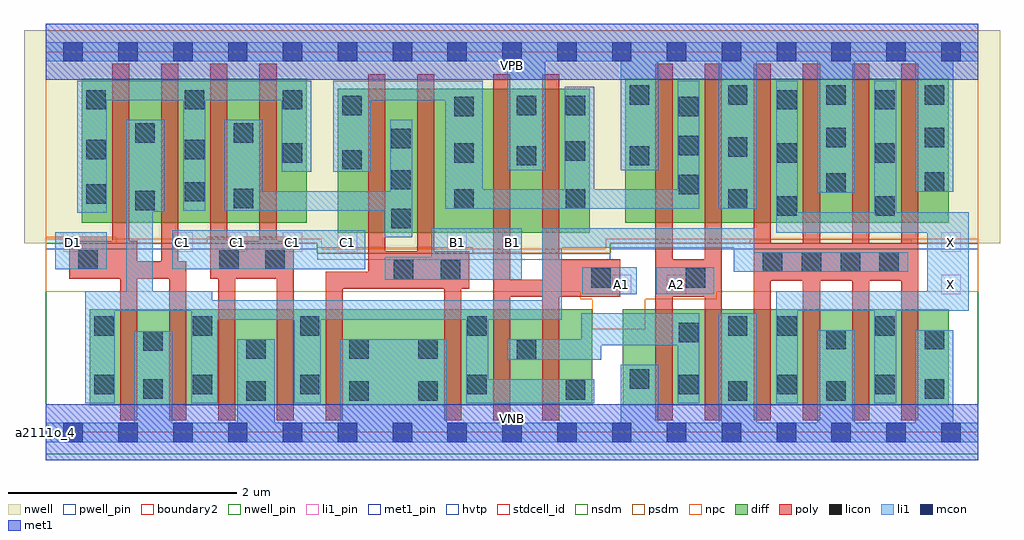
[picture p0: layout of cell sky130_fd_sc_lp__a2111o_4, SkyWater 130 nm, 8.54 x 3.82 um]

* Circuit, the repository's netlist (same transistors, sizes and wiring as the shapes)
* Copyright 2020 The SkyWater PDK Authors
*
* Licensed under the Apache License, Version 2.0 (the "License");
* you may not use this file except in compliance with the License.
* You may obtain a copy of the License at
*
*     https://www.apache.org/licenses/LICENSE-2.0
*
* Unless required by applicable law or agreed to in writing, software
* distributed under the License is distributed on an "AS IS" BASIS,
* WITHOUT WARRANTIES OR CONDITIONS OF ANY KIND, either express or implied.
* See the License for the specific language governing permissions and
* limitations under the License.
*
* SPDX-License-Identifier: Apache-2.0

.SUBCKT sky130_fd_sc_lp__a2111o_4 A1 A2 B1 C1 D1 VGND VNB VPB VPWR X
*.PININFO A1:I A2:I B1:I C1:I D1:I VGND:I VNB:I VPB:I VPWR:I X:O
MMPA0 pndA A1 VPWR VPB sky130_fd_pr__pfet_01v8_hvt m=2 w=1.26U l=0.15U mult=1 sa=0.265
+ sb=0.265 sd=0.28 area=0.063 perim=1.14
MMPA1 pndA A2 VPWR VPB sky130_fd_pr__pfet_01v8_hvt m=2 w=1.26U l=0.15U mult=1 sa=0.265
+ sb=0.265 sd=0.28 area=0.063 perim=1.14
MMPB0 pndB B1 pndA VPB sky130_fd_pr__pfet_01v8_hvt m=2 w=1.26U l=0.15U mult=1 sa=0.265
+ sb=0.265 sd=0.28 area=0.063 perim=1.14
MMPC0 pndC C1 pndB VPB sky130_fd_pr__pfet_01v8_hvt m=2 w=1.26U l=0.15U mult=1 sa=0.265
+ sb=0.265 sd=0.28 area=0.063 perim=1.14
MMPD0 y D1 pndC VPB sky130_fd_pr__pfet_01v8_hvt m=2 w=1.26U l=0.15U mult=1 sa=0.265
+ sb=0.265 sd=0.28 area=0.063 perim=1.14
MMIPX X y VPWR VPB sky130_fd_pr__pfet_01v8_hvt m=4 w=1.26U l=0.15U mult=1 sa=0.265
+ sb=0.265 sd=0.28 area=0.063 perim=1.14
MMNA0 y A1 sndA1 VNB sky130_fd_pr__nfet_01v8 m=2 w=0.84U l=0.15U mult=1 sa=0.265
+ sb=0.265 sd=0.28 area=0.063 perim=1.14
MMNA1 sndA1 A2 VGND VNB sky130_fd_pr__nfet_01v8 m=2 w=0.84U l=0.15U mult=1 sa=0.265
+ sb=0.265 sd=0.28 area=0.063 perim=1.14
MMNB0 y B1 VGND VNB sky130_fd_pr__nfet_01v8 m=2 w=0.84U l=0.15U mult=1 sa=0.265
+ sb=0.265 sd=0.28 area=0.063 perim=1.14
MMNC0 y C1 VGND VNB sky130_fd_pr__nfet_01v8 m=2 w=0.84U l=0.15U mult=1 sa=0.265
+ sb=0.265 sd=0.28 area=0.063 perim=1.14
MMND0 y D1 VGND VNB sky130_fd_pr__nfet_01v8 m=2 w=0.84U l=0.15U mult=1 sa=0.265
+ sb=0.265 sd=0.28 area=0.063 perim=1.14
MMINX X y VGND VNB sky130_fd_pr__nfet_01v8 m=4 w=0.84U l=0.15U mult=1 sa=0.265
+ sb=0.265 sd=0.28 area=0.063 perim=1.14
.ENDS sky130_fd_sc_lp__a2111o_4

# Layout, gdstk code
import gdstk
lib = gdstk.Library(unit=1e-6, precision=1e-09)
def R(c, l, rs):  # rectangles x0, y0, x1, y1
    for r in rs: c.add(gdstk.rectangle(r[:2], r[2:], *l))
def A(c, l, x, y, w, h, nx, ny, dx, dy):  # array of equal rectangles
    R(c, l, [(x+i*dx, y+j*dy, x+i*dx+w, y+j*dy+h) for i in range(nx) for j in range(ny)])
def P(c, l, *ps):  # polygons
    for p in ps: c.add(gdstk.Polygon(p, *l))
nwell_pin = (64, 16)
nwell = (64, 20)
diff = (65, 20)
poly = (66, 20)
licon = (66, 44)
li1_pin = (67, 16)
li1 = (67, 20)
mcon = (67, 44)
met1_pin = (68, 16)
met1 = (68, 20)
hvtp = (78, 44)
stdcell_id = (81, 4)
nsdm = (93, 44)
psdm = (94, 20)
npc = (95, 20)
pwell_pin = (122, 16)
boundary2 = (236, 0)

sky130_fd_sc_lp__a2111o_ = lib.new_cell('sky130_fd_sc_lp__a2111o_4')
R(sky130_fd_sc_lp__a2111o_, nwell_pin, [(0,3.085,8.16,3.33)])
P(sky130_fd_sc_lp__a2111o_, nwell, [(8.35,3.52),(-0.19,3.52),(-0.19,1.655),(2.375,1.655),(2.375,1.565),(4.94,1.565),(4.94,1.655),(8.35,1.655)])
R(sky130_fd_sc_lp__a2111o_, diff, [(0.385,0.235,4.78,1.075), (5.05,0.235,7.9,1.075), (2.555,1.745,4.76,3.005), (0.315,1.835,2.285,3.095), (5.07,1.835,7.9,3.095)])
P(sky130_fd_sc_lp__a2111o_, poly, [(1.23,1.495),(1.16,1.495),(1.16,3.225),(1.01,3.225),(1.01,1.495),(0.8,1.495),(0.8,1.675),(0.73,1.675),(0.73,3.225),(0.58,3.225),(0.58,1.675),(0.205,1.675),(0.205,1.345),(0.65,1.345),(0.65,0.105),(0.8,0.105),(0.8,1.345),(1.08,1.345),(1.08,0.105),(1.23,0.105)],
  [(2.17,1.675),(2.02,1.675),(2.02,3.225),(1.87,3.225),(1.87,1.675),(1.59,1.675),(1.59,3.225),(1.44,3.225),(1.44,1.345),(1.51,1.345),(1.51,0.105),(1.66,0.105),(1.66,1.345),(2.02,1.345),(2.02,0.105),(2.17,0.105)],
  [(3.705,1.585),(3.4,1.585),(3.4,3.135),(3.25,3.135),(3.25,1.585),(2.97,1.585),(2.97,3.135),(2.82,3.135),(2.82,1.405),(2.45,1.405),(2.45,0.105),(2.6,0.105),(2.6,1.255),(3.485,1.255),(3.485,0.105),(3.635,0.105),(3.635,1.255),(3.705,1.255)],
  [(5.025,1.515),(4.495,1.515),(4.495,3.135),(4.345,3.135),(4.345,1.335),(4.065,1.335),(4.065,3.135),(3.915,3.135),(3.915,0.105),(4.065,0.105),(4.065,1.185),(4.345,1.185),(4.345,0.105),(4.495,0.105),(4.495,1.185),(5.025,1.185)],
  [(5.915,3.225),(5.765,3.225),(5.765,1.515),(5.485,1.515),(5.485,3.225),(5.335,3.225),(5.335,0.105),(5.485,0.105),(5.485,1.185),(5.765,1.185),(5.765,0.105),(5.915,0.105)],
  [(7.635,3.225),(7.485,3.225),(7.485,1.655),(7.205,1.655),(7.205,3.225),(7.055,3.225),(7.055,1.655),(6.775,1.655),(6.775,3.225),(6.625,3.225),(6.625,1.655),(6.345,1.655),(6.345,3.225),(6.195,3.225),(6.195,0.105),(6.345,0.105),(6.345,1.325),(6.625,1.325),(6.625,0.105),(6.775,0.105),(6.775,1.325),(7.055,1.325),(7.055,0.105),(7.205,0.105),(7.205,1.325),(7.485,1.325),(7.485,0.105),(7.635,0.105)])
A(sky130_fd_sc_lp__a2111o_, licon, 5.54, 0.335, 0.17, 0.17, 3, 1, 0.86, 0)
A(sky130_fd_sc_lp__a2111o_, licon, 6.275, 1.405, 0.17, 0.17, 4, 1, 0.34, 0)
A(sky130_fd_sc_lp__a2111o_, licon, 6.4, 1.895, 0.17, 0.17, 1, 3, 0, 0.465)
A(sky130_fd_sc_lp__a2111o_, licon, 7.26, 1.895, 0.17, 0.17, 1, 3, 0, 0.465)
A(sky130_fd_sc_lp__a2111o_, licon, 3.575, 1.955, 0.17, 0.17, 1, 3, 0, 0.405)
A(sky130_fd_sc_lp__a2111o_, licon, 5.54, 2.085, 0.17, 0.17, 1, 3, 0, 0.34)
A(sky130_fd_sc_lp__a2111o_, licon, 0.355, 2.825, 0.17, 0.17, 3, 1, 0.86, 0)
A(sky130_fd_sc_lp__a2111o_, licon, 5.11, 2.865, 0.17, 0.17, 4, 1, 0.86, 0)
R(sky130_fd_sc_lp__a2111o_, licon, [(1.755,0.275,1.925,0.445), (2.655,0.275,2.825,0.445), (3.26,0.275,3.43,0.445), (5.97,0.275,6.14,0.445), (6.83,0.275,7,0.445), (4.55,0.285,4.72,0.455), (0.855,0.295,1.025,0.465), (7.69,0.295,7.86,0.465), (0.425,0.335,0.595,0.505), (1.285,0.335,1.455,0.505), (2.225,0.335,2.395,0.505), (3.69,0.335,3.86,0.505), (5.11,0.38,5.28,0.55), (4.12,0.635,4.29,0.805), (1.755,0.645,1.925,0.815), (2.655,0.645,2.825,0.815), (3.26,0.645,3.43,0.815), (0.855,0.715,1.025,0.885), (6.83,0.725,7,0.895), (7.69,0.725,7.86,0.895), (5.54,0.79,5.71,0.96), (0.425,0.845,0.595,1.015), (1.285,0.845,1.455,1.015), (2.225,0.845,2.395,1.015), (3.69,0.845,3.86,1.015), (5.97,0.845,6.14,1.015), (6.4,0.845,6.57,1.015), (7.26,0.845,7.43,1.015), (4.775,1.265,4.945,1.435), (5.6,1.265,5.77,1.435), (3.045,1.335,3.215,1.505), (3.455,1.335,3.625,1.505), (0.285,1.425,0.455,1.595), (1.52,1.425,1.69,1.595), (1.92,1.425,2.09,1.595), (3.025,1.785,3.195,1.955), (0.785,1.945,0.955,2.115), (4.55,1.955,4.72,2.125), (5.97,1.955,6.14,2.125), (1.645,1.96,1.815,2.13), (0.355,2,0.525,2.17), (1.215,2.02,1.385,2.19), (6.83,2.095,7,2.265), (7.69,2.105,7.86,2.275), (3.025,2.125,3.195,2.295), (2.595,2.3,2.765,2.47), (4.12,2.335,4.29,2.505), (5.11,2.335,5.28,2.505), (2.075,2.36,2.245,2.53), (4.55,2.375,4.72,2.545), (0.355,2.39,0.525,2.56), (1.215,2.39,1.385,2.56), (5.97,2.41,6.14,2.58), (3.025,2.485,3.195,2.655), (6.83,2.495,7,2.665), (7.69,2.495,7.86,2.665), (0.785,2.535,0.955,2.705), (1.645,2.535,1.815,2.705), (2.595,2.775,2.765,2.945), (4.12,2.775,4.29,2.945), (4.55,2.775,4.72,2.945)])
A(sky130_fd_sc_lp__a2111o_, li1_pin, 1.115, 1.58, 0.17, 0.17, 4, 1, 0.48, 0)
R(sky130_fd_sc_lp__a2111o_, li1_pin, [(4.955,1.21,5.125,1.38), (5.435,1.21,5.605,1.38), (7.835,1.21,8.005,1.38), (0.155,1.58,0.325,1.75), (3.515,1.58,3.685,1.75), (3.995,1.58,4.165,1.75), (7.835,1.58,8.005,1.75)])
R(sky130_fd_sc_lp__a2111o_, li1, [(4.695,1.21,5.17,1.445), (5.34,1.21,5.85,1.445), (0.085,1.425,0.535,1.75), (1.105,1.425,2.795,1.77)])
P(sky130_fd_sc_lp__a2111o_, li1, [(2.325,3.075),(0.275,3.075),(0.275,1.92),(0.535,1.92),(0.535,2.905),(1.205,2.905),(1.205,1.94),(1.395,1.94),(1.395,2.905),(2.065,2.905),(2.065,2.28),(2.325,2.28)],
  [(8.16,0.085),(7.94,0.085),(7.94,0.895),(7.61,0.895),(7.61,0.085),(7.08,0.085),(7.08,0.895),(6.75,0.895),(6.75,0.085),(6.22,0.085),(6.22,1.04),(5.89,1.04),(5.89,0.085),(5.36,0.085),(5.36,0.59),(5.03,0.59),(5.03,0.085),(3.51,0.085),(3.51,0.815),(2.575,0.815),(2.575,0.085),(2.005,0.085),(2.005,0.815),(1.675,0.815),(1.675,0.085),(1.105,0.085),(1.105,0.885),(0.775,0.885),(0.775,0.085),(0,0.085),(0,-0.085),(8.16,-0.085)],
  [(3.205,2.735),(3.015,2.735),(3.015,2.11),(1.895,2.11),(1.895,2.735),(1.565,2.735),(1.565,1.94),(2.965,1.94),(2.965,1.705),(3.205,1.705)],
  [(4.165,1.785),(3.375,1.785),(3.375,1.535),(2.965,1.535),(2.965,1.335),(4.165,1.335)],
  [(5.72,3.075),(5.53,3.075),(5.53,2.125),(4.8,2.125),(4.8,3.025),(4.54,3.025),(4.54,2.125),(3.825,2.125),(3.825,3.075),(2.515,3.075),(2.515,2.28),(2.845,2.28),(2.845,2.905),(3.495,2.905),(3.495,1.955),(5.72,1.955)],
  [(5.72,1.04),(4.685,1.04),(4.685,0.815),(4.04,0.815),(4.04,0.635),(4.86,0.635),(4.86,0.76),(5.53,0.76),(5.53,0.255),(5.72,0.255)],
  [(7.545,1.575),(6.2,1.575),(6.2,1.785),(4.345,1.785),(4.345,1.155),(1.455,1.155),(1.455,1.235),(0.935,1.235),(0.935,1.93),(1.035,1.93),(1.035,2.735),(0.705,2.735),(0.705,1.235),(0.345,1.235),(0.345,0.255),(0.605,0.255),(0.605,1.065),(1.275,1.065),(1.275,0.255),(1.505,0.255),(1.505,0.985),(2.175,0.985),(2.175,0.255),(2.405,0.255),(2.405,0.985),(3.68,0.985),(3.68,0.255),(4.8,0.255),(4.8,0.465),(3.87,0.465),(3.87,0.985),(4.515,0.985),(4.515,1.615),(6.02,1.615),(6.02,1.405),(7.545,1.405)],
  [(8.075,1.925),(7.44,1.925),(7.44,3.075),(7.25,3.075),(7.25,1.925),(6.58,1.925),(6.58,3.075),(6.39,3.075),(6.39,1.745),(7.715,1.745),(7.715,1.235),(6.39,1.235),(6.39,0.255),(6.58,0.255),(6.58,1.065),(7.25,1.065),(7.25,0.255),(7.44,0.255),(7.44,1.065),(8.075,1.065)],
  [(8.16,3.415),(0,3.415),(0,3.245),(4.04,3.245),(4.04,2.295),(4.37,2.295),(4.37,3.245),(5.03,3.245),(5.03,2.295),(5.36,2.295),(5.36,3.245),(5.89,3.245),(5.89,1.955),(6.22,1.955),(6.22,3.245),(6.75,3.245),(6.75,2.095),(7.08,2.095),(7.08,3.245),(7.61,3.245),(7.61,2.105),(7.94,2.105),(7.94,3.245),(8.16,3.245)])
A(sky130_fd_sc_lp__a2111o_, mcon, 0.155, -0.085, 0.17, 0.17, 17, 2, 0.48, 3.33)
R(sky130_fd_sc_lp__a2111o_, met1_pin, [(0,0,8.16,0.245), (0,3.085,8.16,3.33)])
R(sky130_fd_sc_lp__a2111o_, met1, [(0,-0.245,8.16,0.245), (0,3.085,8.16,3.575)])
P(sky130_fd_sc_lp__a2111o_, hvtp, [(8.16,3.33),(0,3.33),(0,1.6),(2.375,1.6),(2.375,1.51),(4.94,1.51),(4.94,1.6),(8.16,1.6)])
R(sky130_fd_sc_lp__a2111o_, stdcell_id, [(0,0,8.16,3.33)])
P(sky130_fd_sc_lp__a2111o_, nsdm, [(8.16,1.655),(4.94,1.655),(4.94,1.565),(2.375,1.565),(2.375,1.655),(0,1.655),(0,-0.19),(8.16,-0.19)])
P(sky130_fd_sc_lp__a2111o_, psdm, [(8.16,3.52),(0,3.52),(0,1.705),(0.615,1.705),(0.615,1.655),(1.415,1.655),(1.415,1.705),(2.2,1.705),(2.2,1.655),(2.375,1.655),(2.375,1.615),(3.735,1.615),(3.735,1.565),(4.94,1.565),(4.94,1.655),(6.165,1.655),(6.165,1.685),(7.575,1.685),(7.575,1.655),(8.16,1.655)])
P(sky130_fd_sc_lp__a2111o_, npc, [(8.16,1.695),(4.9,1.695),(4.9,1.605),(2.415,1.605),(2.415,1.695),(0,1.695),(0,1.23),(4.675,1.23),(4.675,1.165),(4.78,1.165),(4.78,0.9),(5.245,0.9),(5.245,1.165),(5.87,1.165),(5.87,1.23),(8.16,1.23)])
R(sky130_fd_sc_lp__a2111o_, pwell_pin, [(0,0,8.16,0.245)])
R(sky130_fd_sc_lp__a2111o_, boundary2, [(0,0,8.16,3.33)])
sky130_fd_sc_lp__a2111o_.add(gdstk.Label('VNB', (4.08,0.123), layer=64, texttype=59))
sky130_fd_sc_lp__a2111o_.add(gdstk.Label('VPB', (4.08,3.208), layer=64, texttype=5))
sky130_fd_sc_lp__a2111o_.add(gdstk.Label('a2111o_4', (0,0), layer=83, texttype=44))
sky130_fd_sc_lp__a2111o_.add(gdstk.Label('VPWR', (4.08,3.208), layer=68, texttype=5))
sky130_fd_sc_lp__a2111o_.add(gdstk.Label('VGND', (4.08,0.123), layer=68, texttype=5))
sky130_fd_sc_lp__a2111o_.add(gdstk.Label('A1', (5.04,1.295), layer=67, texttype=5))
sky130_fd_sc_lp__a2111o_.add(gdstk.Label('A2', (5.52,1.295), layer=67, texttype=5))
sky130_fd_sc_lp__a2111o_.add(gdstk.Label('B1', (3.6,1.665), layer=67, texttype=5))
sky130_fd_sc_lp__a2111o_.add(gdstk.Label('B1', (4.08,1.665), layer=67, texttype=5))
sky130_fd_sc_lp__a2111o_.add(gdstk.Label('C1', (1.2,1.665), layer=67, texttype=5))
sky130_fd_sc_lp__a2111o_.add(gdstk.Label('C1', (1.68,1.665), layer=67, texttype=5))
sky130_fd_sc_lp__a2111o_.add(gdstk.Label('C1', (2.16,1.665), layer=67, texttype=5))
sky130_fd_sc_lp__a2111o_.add(gdstk.Label('C1', (2.64,1.665), layer=67, texttype=5))
sky130_fd_sc_lp__a2111o_.add(gdstk.Label('D1', (0.24,1.665), layer=67, texttype=5))
sky130_fd_sc_lp__a2111o_.add(gdstk.Label('X', (7.92,1.295), layer=67, texttype=5))
sky130_fd_sc_lp__a2111o_.add(gdstk.Label('X', (7.92,1.665), layer=67, texttype=5))

lib.write_gds('sky130_fd_sc_lp__a2111o_4.gds')
